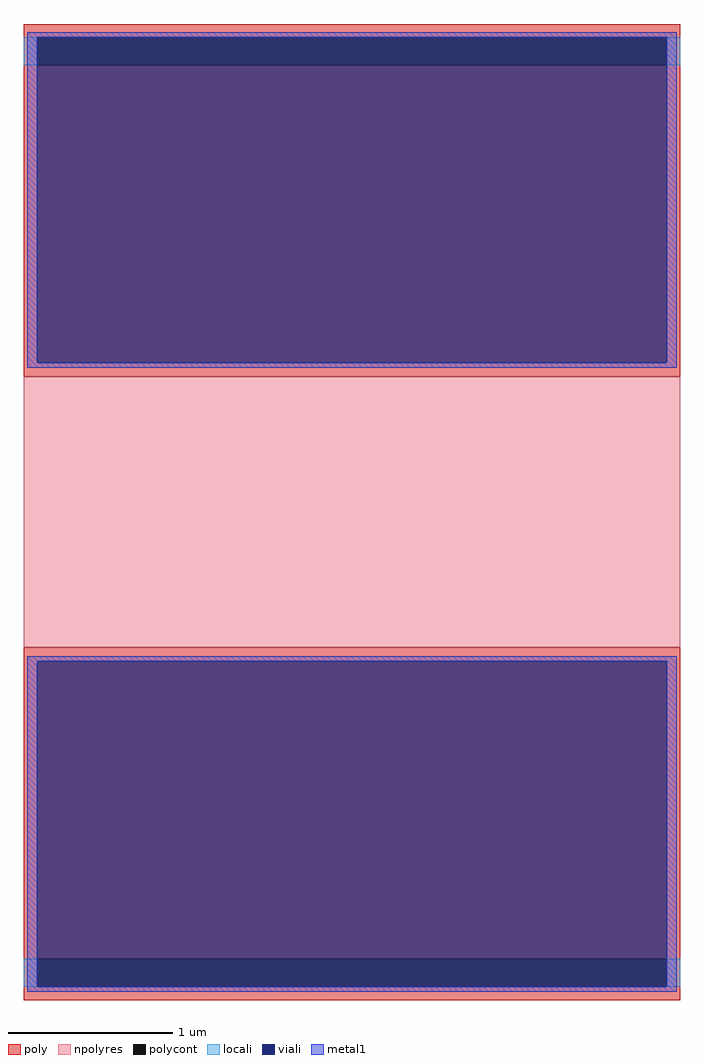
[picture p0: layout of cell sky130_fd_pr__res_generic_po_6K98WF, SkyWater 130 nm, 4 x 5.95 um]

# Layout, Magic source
magic
tech sky130A
magscale 1 2
<< poly >>
rect -400 579 400 595
rect -400 545 -384 579
rect 384 545 400 579
rect -400 165 400 545
rect -400 -545 400 -165
rect -400 -579 -384 -545
rect 384 -579 400 -545
rect -400 -595 400 -579
<< polycont >>
rect -384 545 384 579
rect -384 -579 384 -545
<< npolyres >>
rect -400 -165 400 165
<< locali >>
rect -400 545 -384 579
rect 384 545 400 579
rect -400 -579 -384 -545
rect 384 -579 400 -545
<< viali >>
rect -384 545 384 579
rect -384 182 384 545
rect -384 -545 384 -182
rect -384 -579 384 -545
<< metal1 >>
rect -396 579 396 585
rect -396 182 -384 579
rect 384 182 396 579
rect -396 176 396 182
rect -396 -182 396 -176
rect -396 -579 -384 -182
rect 384 -579 396 -182
rect -396 -585 396 -579
<< properties >>
string gencell sky130_fd_pr__res_generic_po
string library sky130
string parameters w 4.0 l 1.650 m 1 nx 1 wmin 0.330 lmin 1.650 rho 48.2 val 19.882 dummy 0 dw 0.0 term 0.0 sterm 0.0 caplen 0.4 snake 0 guard 0 glc 1 grc 1 gtc 1 gbc 1 roverlap 0 endcov 100 full_metal 1 hv_guard 0 n_guard 0 vias 1 viagb 0 viagt 0 viagl 0 viagr 0
<< end >>
